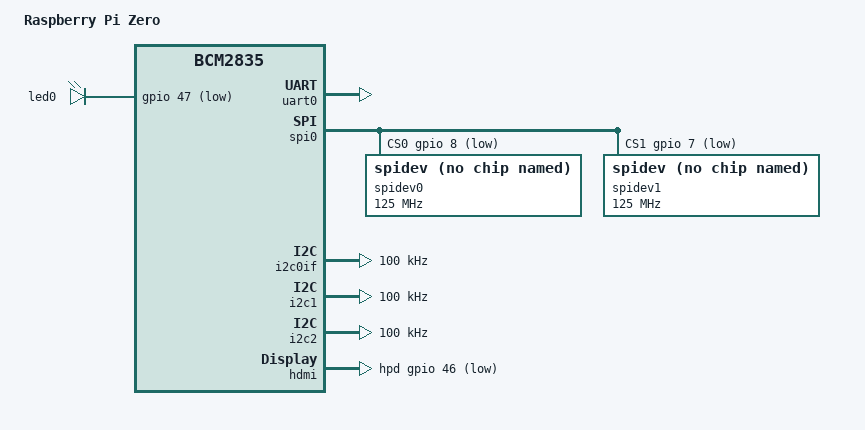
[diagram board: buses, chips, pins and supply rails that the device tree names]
/dts-v1/;

#include "bcm2708.dtsi"
#include "bcm2708-rpi.dtsi"
#include "bcm283x-rpi-csi1-2lane.dtsi"
#include "bcm283x-rpi-i2c0mux_0_28.dtsi"

/ {
	compatible = "raspberrypi,model-zero", "brcm,bcm2835";
	model = "Raspberry Pi Zero";

	chosen {
		bootargs = "coherent_pool=1M snd_bcm2835.enable_compat_alsa=0 snd_bcm2835.enable_hdmi=1";
	};
};

&gpio {
	/*
	 * This is based on the official GPU firmware DT blob.
	 *
	 * Legend:
	 * "NC" = not connected (no rail from the SoC)
	 * "FOO" = GPIO line named "FOO" on the schematic
	 * "FOO_N" = GPIO line named "FOO" on schematic, active low
	 */
	gpio-line-names = "ID_SDA",
			  "ID_SCL",
			  "SDA1",
			  "SCL1",
			  "GPIO_GCLK",
			  "GPIO5",
			  "GPIO6",
			  "SPI_CE1_N",
			  "SPI_CE0_N",
			  "SPI_MISO",
			  "SPI_MOSI",
			  "SPI_SCLK",
			  "GPIO12",
			  "GPIO13",
			  /* Serial port */
			  "TXD0",
			  "RXD0",
			  "GPIO16",
			  "GPIO17",
			  "GPIO18",
			  "GPIO19",
			  "GPIO20",
			  "GPIO21",
			  "GPIO22",
			  "GPIO23",
			  "GPIO24",
			  "GPIO25",
			  "GPIO26",
			  "GPIO27",
			  "SDA0",
			  "SCL0",
			  "NC", /* GPIO30 */
			  "NC", /* GPIO31 */
			  "CAM_GPIO1", /* GPIO32 */
			  "NC", /* GPIO33 */
			  "NC", /* GPIO34 */
			  "NC", /* GPIO35 */
			  "NC", /* GPIO36 */
			  "NC", /* GPIO37 */
			  "NC", /* GPIO38 */
			  "NC", /* GPIO39 */
			  "NC", /* GPIO40 */
			  "CAM_GPIO0", /* GPIO41 */
			  "NC", /* GPIO42 */
			  "NC", /* GPIO43 */
			  "NC", /* GPIO44 */
			  "NC", /* GPIO45 */
			  "HDMI_HPD_N",
			  "STATUS_LED_N",
			  /* Used by SD Card */
			  "SD_CLK_R",
			  "SD_CMD_R",
			  "SD_DATA0_R",
			  "SD_DATA1_R",
			  "SD_DATA2_R",
			  "SD_DATA3_R";

	spi0_pins: spi0_pins {
		brcm,pins = <9 10 11>;
		brcm,function = <4>; /* alt0 */
	};

	spi0_cs_pins: spi0_cs_pins {
		brcm,pins = <8 7>;
		brcm,function = <1>; /* output */
	};

	i2c0_pins: i2c0 {
		brcm,pins = <0 1>;
		brcm,function = <4>;
	};

	i2c1_pins: i2c1 {
		brcm,pins = <2 3>;
		brcm,function = <4>;
	};

	i2s_pins: i2s {
		brcm,pins = <18 19 20 21>;
		brcm,function = <4>; /* alt0 */
	};

	audio_pins: audio_pins {
		brcm,pins = <>;
		brcm,function = <>;
	};
};

&uart0 {
	status = "okay";
};

&spi0 {
	pinctrl-names = "default";
	pinctrl-0 = <&spi0_pins &spi0_cs_pins>;
	cs-gpios = <&gpio 8 1>, <&gpio 7 1>;

	spidev0: spidev@0{
		compatible = "spidev";
		reg = <0>;	/* CE0 */
		#address-cells = <1>;
		#size-cells = <0>;
		spi-max-frequency = <125000000>;
	};

	spidev1: spidev@1{
		compatible = "spidev";
		reg = <1>;	/* CE1 */
		#address-cells = <1>;
		#size-cells = <0>;
		spi-max-frequency = <125000000>;
	};
};

&i2c0if {
	clock-frequency = <100000>;
};

&i2c1 {
	pinctrl-names = "default";
	pinctrl-0 = <&i2c1_pins>;
	clock-frequency = <100000>;
};

&i2c2 {
	clock-frequency = <100000>;
};

&i2s {
	pinctrl-names = "default";
	pinctrl-0 = <&i2s_pins>;
};

&leds {
	act_led: led-act {
		label = "led0";
		linux,default-trigger = "actpwr";
		gpios = <&gpio 47 GPIO_ACTIVE_LOW>;
	};
};

&hdmi {
	hpd-gpios = <&gpio 46 GPIO_ACTIVE_LOW>;
};

&audio {
	pinctrl-names = "default";
	pinctrl-0 = <&audio_pins>;
	brcm,disable-headphones = <1>;
};

&cam1_reg {
	gpio = <&gpio 41 GPIO_ACTIVE_HIGH>;
};

cam0_reg: &cam_dummy_reg {
};

/ {
	__overrides__ {
		act_led_gpio = <&act_led>,"gpios:4";
		act_led_activelow = <&act_led>,"gpios:8";
		act_led_trigger = <&act_led>,"linux,default-trigger";
	};
};
